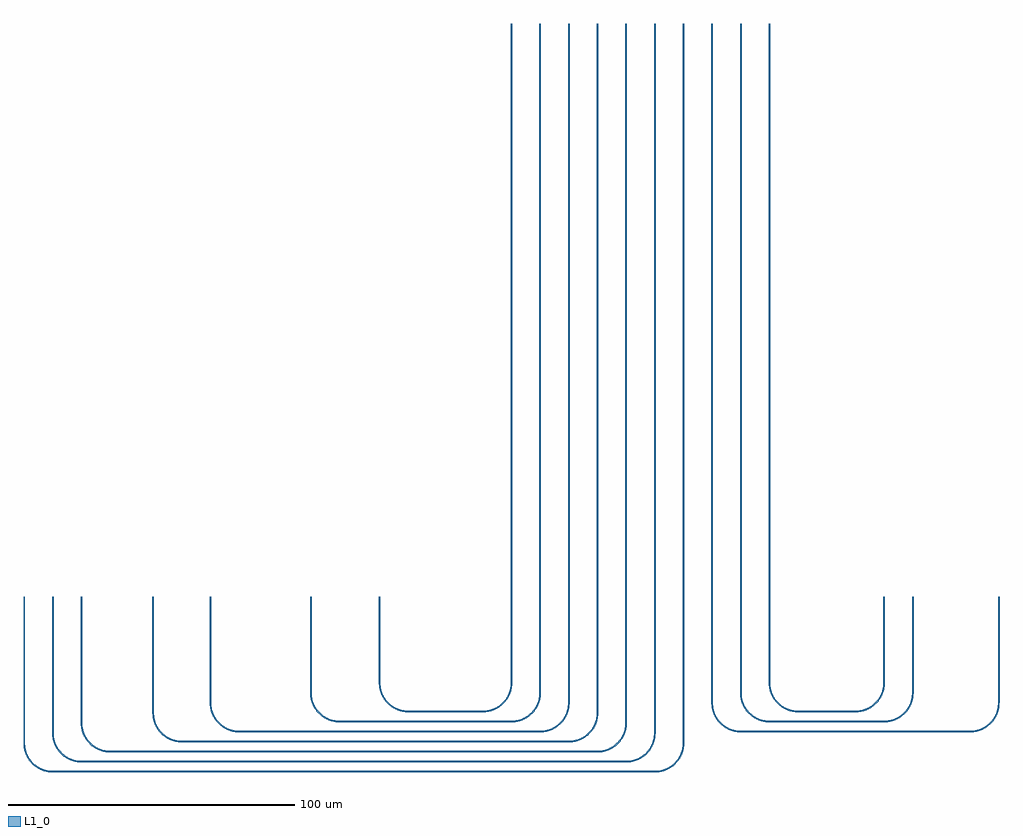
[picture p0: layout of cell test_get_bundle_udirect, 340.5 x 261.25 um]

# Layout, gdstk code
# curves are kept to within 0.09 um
from math import pi, radians
import gdstk
lib = gdstk.Library(unit=1e-6, precision=1e-09)
def R(c, l, rs):  # rectangles x0, y0, x1, y1
    for r in rs: c.add(gdstk.rectangle(r[:2], r[2:], *l))
def P(c, l, *ps):  # polygons
    for p in ps: c.add(gdstk.Polygon(p, *l))
L1_0 = (1, 0)

bend_circular_bfe3acbc = lib.new_cell('bend_circular_bfe3acbc')
P(bend_circular_bfe3acbc, L1_0, [(0,-0.25),(1.838,-0.084),(2.865,0.158),(3.861,0.505),(5.501,1.351),(6.361,1.963),(7.154,2.659),(7.871,3.434),(8.504,4.278),(9.047,5.183),(9.495,6.139),(9.842,7.135),(10.084,8.162),(10.25,10),(9.75,10),(9.698,8.997),(9.544,8.006),(9.209,6.797),(8.831,5.867),(7.947,4.351),(6.982,3.195),(5.649,2.053),(4.359,1.279),(3.203,0.791),(2.239,0.511),(1.252,0.331),(0,0.25)])

straight_9c66f19a = lib.new_cell('straight_9c66f19a')
R(straight_9c66f19a, L1_0, [(0,-0.25,30,0.25)])

straight_7751c564 = lib.new_cell('straight_7751c564')
R(straight_7751c564, L1_0, [(0,-0.25,26,0.25)])

straight_a24fd46b = lib.new_cell('straight_a24fd46b')
R(straight_a24fd46b, L1_0, [(0,-0.25,230,0.25)])

straight_2f055896 = lib.new_cell('straight_2f055896')
R(straight_2f055896, L1_0, [(0,-0.25,33.5,0.25)])

straight_a492560e = lib.new_cell('straight_a492560e')
R(straight_a492560e, L1_0, [(0,-0.25,60,0.25)])

straight_ad244687 = lib.new_cell('straight_ad244687')
R(straight_ad244687, L1_0, [(0,-0.25,233.5,0.25)])

straight_42425bc2 = lib.new_cell('straight_42425bc2')
R(straight_42425bc2, L1_0, [(0,-0.25,37,0.25)])

straight_000ee789 = lib.new_cell('straight_000ee789')
R(straight_000ee789, L1_0, [(0,-0.25,105,0.25)])

straight_7c4dc5e0 = lib.new_cell('straight_7c4dc5e0')
R(straight_7c4dc5e0, L1_0, [(0,-0.25,237,0.25)])

straight_965ffd1e = lib.new_cell('straight_965ffd1e')
R(straight_965ffd1e, L1_0, [(0,-0.25,40.5,0.25)])

straight_31ab6ab2 = lib.new_cell('straight_31ab6ab2')
R(straight_31ab6ab2, L1_0, [(0,-0.25,135,0.25)])

straight_c2f27236 = lib.new_cell('straight_c2f27236')
R(straight_c2f27236, L1_0, [(0,-0.25,240.5,0.25)])

straight_4181d058 = lib.new_cell('straight_4181d058')
R(straight_4181d058, L1_0, [(0,-0.25,44,0.25)])

straight_eea1ed92 = lib.new_cell('straight_eea1ed92')
R(straight_eea1ed92, L1_0, [(0,-0.25,170,0.25)])

straight_dfe7038a = lib.new_cell('straight_dfe7038a')
R(straight_dfe7038a, L1_0, [(0,-0.25,244,0.25)])

straight_017da6dd = lib.new_cell('straight_017da6dd')
R(straight_017da6dd, L1_0, [(0,-0.25,47.5,0.25)])

straight_99462c26 = lib.new_cell('straight_99462c26')
R(straight_99462c26, L1_0, [(0,-0.25,190,0.25)])

straight_5f76ef7b = lib.new_cell('straight_5f76ef7b')
R(straight_5f76ef7b, L1_0, [(0,-0.25,247.5,0.25)])

straight_4c80848d = lib.new_cell('straight_4c80848d')
R(straight_4c80848d, L1_0, [(0,-0.25,51,0.25)])

straight_30ee2240 = lib.new_cell('straight_30ee2240')
R(straight_30ee2240, L1_0, [(0,-0.25,210,0.25)])

straight_a4d9c8aa = lib.new_cell('straight_a4d9c8aa')
R(straight_a4d9c8aa, L1_0, [(0,-0.25,251,0.25)])

straight_358fd146 = lib.new_cell('straight_358fd146')
R(straight_358fd146, L1_0, [(0,-0.25,20,0.25)])

straight_f483796a = lib.new_cell('straight_f483796a')
R(straight_f483796a, L1_0, [(0,-0.25,40,0.25)])

straight_f981cd12 = lib.new_cell('straight_f981cd12')
R(straight_f981cd12, L1_0, [(0,-0.25,80,0.25)])

test_get_bundle_udirect = lib.new_cell('test_get_bundle_udirect')
test_get_bundle_udirect.add(gdstk.Reference(bend_circular_bfe3acbc, (24,-30), rotation=3*pi/2))
test_get_bundle_udirect.add(gdstk.Reference(bend_circular_bfe3acbc, (60,-40)))
test_get_bundle_udirect.add(gdstk.Reference(straight_9c66f19a, (24,0), rotation=3*pi/2))
test_get_bundle_udirect.add(gdstk.Reference(straight_7751c564, (34,-40)))
test_get_bundle_udirect.add(gdstk.Reference(straight_a24fd46b, (70,-30), rotation=pi/2))
test_get_bundle_udirect.add(gdstk.Reference(bend_circular_bfe3acbc, (0,-33.5), rotation=3*pi/2))
test_get_bundle_udirect.add(gdstk.Reference(bend_circular_bfe3acbc, (70,-43.5)))
test_get_bundle_udirect.add(gdstk.Reference(straight_2f055896, (0,0), rotation=3*pi/2))
test_get_bundle_udirect.add(gdstk.Reference(straight_a492560e, (10,-43.5)))
test_get_bundle_udirect.add(gdstk.Reference(straight_ad244687, (80,-33.5), rotation=pi/2))
test_get_bundle_udirect.add(gdstk.Reference(bend_circular_bfe3acbc, (-35,-37), rotation=3*pi/2))
test_get_bundle_udirect.add(gdstk.Reference(bend_circular_bfe3acbc, (80,-47)))
test_get_bundle_udirect.add(gdstk.Reference(straight_42425bc2, (-35,0), rotation=3*pi/2))
test_get_bundle_udirect.add(gdstk.Reference(straight_000ee789, (-25,-47)))
test_get_bundle_udirect.add(gdstk.Reference(straight_7c4dc5e0, (90,-37), rotation=pi/2))
test_get_bundle_udirect.add(gdstk.Reference(bend_circular_bfe3acbc, (-55,-40.5), rotation=3*pi/2))
test_get_bundle_udirect.add(gdstk.Reference(bend_circular_bfe3acbc, (90,-50.5)))
test_get_bundle_udirect.add(gdstk.Reference(straight_965ffd1e, (-55,0), rotation=3*pi/2))
test_get_bundle_udirect.add(gdstk.Reference(straight_31ab6ab2, (-45,-50.5)))
test_get_bundle_udirect.add(gdstk.Reference(straight_c2f27236, (100,-40.5), rotation=pi/2))
test_get_bundle_udirect.add(gdstk.Reference(bend_circular_bfe3acbc, (-80,-44), rotation=3*pi/2))
test_get_bundle_udirect.add(gdstk.Reference(bend_circular_bfe3acbc, (100,-54)))
test_get_bundle_udirect.add(gdstk.Reference(straight_4181d058, (-80,0), rotation=3*pi/2))
test_get_bundle_udirect.add(gdstk.Reference(straight_eea1ed92, (-70,-54)))
test_get_bundle_udirect.add(gdstk.Reference(straight_dfe7038a, (110,-44), rotation=pi/2))
test_get_bundle_udirect.add(gdstk.Reference(bend_circular_bfe3acbc, (-90,-47.5), rotation=3*pi/2))
test_get_bundle_udirect.add(gdstk.Reference(bend_circular_bfe3acbc, (110,-57.5)))
test_get_bundle_udirect.add(gdstk.Reference(straight_017da6dd, (-90,0), rotation=3*pi/2))
test_get_bundle_udirect.add(gdstk.Reference(straight_99462c26, (-80,-57.5)))
test_get_bundle_udirect.add(gdstk.Reference(straight_5f76ef7b, (120,-47.5), rotation=pi/2))
test_get_bundle_udirect.add(gdstk.Reference(bend_circular_bfe3acbc, (-100,-51), rotation=3*pi/2))
test_get_bundle_udirect.add(gdstk.Reference(bend_circular_bfe3acbc, (120,-61)))
test_get_bundle_udirect.add(gdstk.Reference(straight_4c80848d, (-100,0), rotation=3*pi/2))
test_get_bundle_udirect.add(gdstk.Reference(straight_30ee2240, (-90,-61)))
test_get_bundle_udirect.add(gdstk.Reference(straight_a4d9c8aa, (130,-51), rotation=pi/2))
test_get_bundle_udirect.add(gdstk.Reference(bend_circular_bfe3acbc, (200,-30), rotation=3*pi/2, x_reflection=True))
test_get_bundle_udirect.add(gdstk.Reference(bend_circular_bfe3acbc, (170,-40), rotation=pi, x_reflection=True))
test_get_bundle_udirect.add(gdstk.Reference(straight_9c66f19a, (200,0), rotation=3*pi/2))
test_get_bundle_udirect.add(gdstk.Reference(straight_358fd146, (190,-40), rotation=pi))
test_get_bundle_udirect.add(gdstk.Reference(straight_a24fd46b, (160,-30), rotation=pi/2))
test_get_bundle_udirect.add(gdstk.Reference(bend_circular_bfe3acbc, (210,-33.5), rotation=3*pi/2, x_reflection=True))
test_get_bundle_udirect.add(gdstk.Reference(bend_circular_bfe3acbc, (160,-43.5), rotation=pi, x_reflection=True))
test_get_bundle_udirect.add(gdstk.Reference(straight_2f055896, (210,0), rotation=3*pi/2))
test_get_bundle_udirect.add(gdstk.Reference(straight_f483796a, (200,-43.5), rotation=pi))
test_get_bundle_udirect.add(gdstk.Reference(straight_ad244687, (150,-33.5), rotation=pi/2))
test_get_bundle_udirect.add(gdstk.Reference(bend_circular_bfe3acbc, (240,-37), rotation=3*pi/2, x_reflection=True))
test_get_bundle_udirect.add(gdstk.Reference(bend_circular_bfe3acbc, (150,-47), rotation=pi, x_reflection=True))
test_get_bundle_udirect.add(gdstk.Reference(straight_42425bc2, (240,0), rotation=3*pi/2))
test_get_bundle_udirect.add(gdstk.Reference(straight_f981cd12, (230,-47), rotation=pi))
test_get_bundle_udirect.add(gdstk.Reference(straight_7c4dc5e0, (140,-37), rotation=pi/2))

lib.write_gds('test_get_bundle_udirect.gds')
